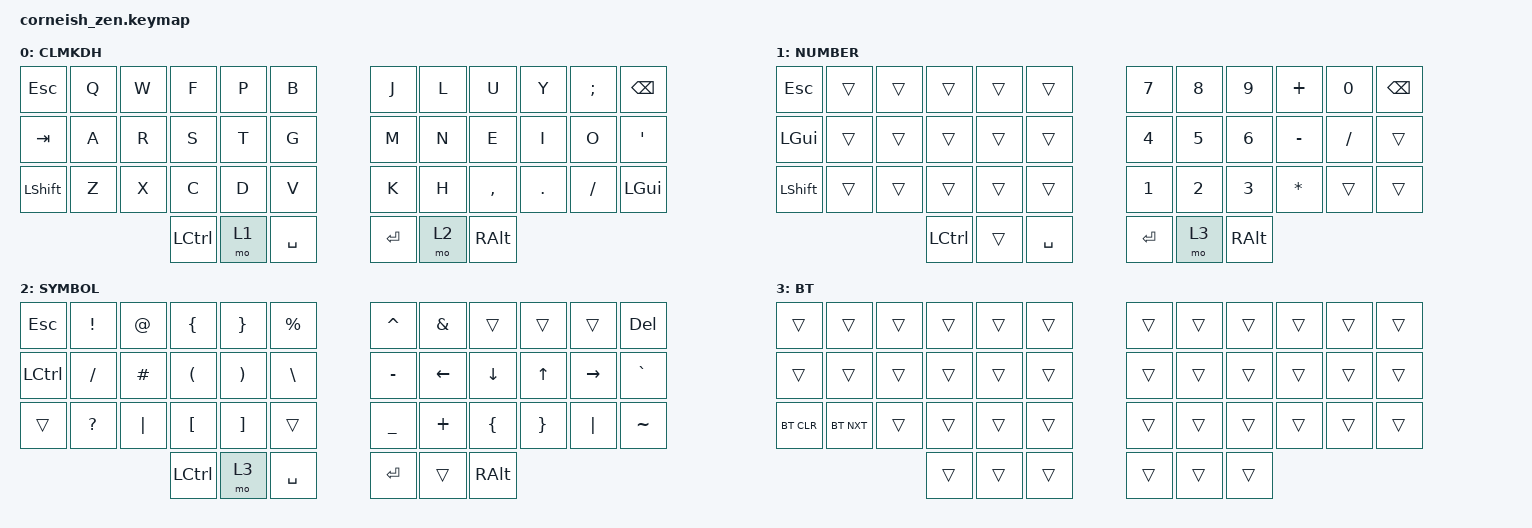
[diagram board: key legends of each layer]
/*
*
* Copyright (c) 2021 Darryl deHaan
* SPDX-License-Identifier: MIT
*
*/

#include <behaviors.dtsi>
#include <dt-bindings/zmk/keys.h>
#include <dt-bindings/zmk/bt.h>

/ {
  chosen {
    zmk,matrix_transform = &default_transform;
    //zmk,matrix_transform = &five_column_transform;
  };
};

/ {
        keymap {
                compatible = "zmk,keymap";

                default_layer {
                        label = "CLMKDH";
                        bindings = <
   &kp ESC   &kp Q &kp W &kp F &kp P &kp B   &kp J &kp L  &kp U     &kp Y   &kp SEMI  &kp BSPC
   &kp TAB   &kp A &kp R &kp S &kp T &kp G   &kp M &kp N  &kp E     &kp I   &kp O     &kp SQT
   &kp LSHFT &kp Z &kp X &kp C &kp D &kp V   &kp K &kp H  &kp COMMA &kp DOT &kp FSLH  &kp LGUI
                  &kp LCTRL &mo 1 &kp SPACE   &kp RET &mo 2 &kp RALT
                        >;
                };
                lower_layer {
                        label = "NUMBER";
                        bindings = <
   &kp ESC     &trans        &trans        &trans        &trans        &trans                 &kp N7   &kp N8   &kp N9  &kp PLUS  &kp N0    &kp BSPC
   &kp LGUI    &trans        &trans        &trans        &trans        &trans                 &kp N4   &kp N5   &kp N6  &kp MINUS &kp FSLH  &trans
   &kp LSHFT   &trans        &trans        &trans        &trans        &trans                 &kp N1   &kp N2   &kp N3  &kp STAR  &trans    &trans
                          	               &kp LCTRL     &trans        &kp SPACE              &kp RET  &mo 3    &kp RALT
                        >;
                };

                raise_layer {
                        label = "SYMBOL";
                        bindings = <
   &kp ESC     &kp EXCL      &kp AT    &kp LBRC    &kp RBRC   &kp PRCNT     &kp CARET &kp AMPS  &trans    &trans   &trans    &kp DEL
   &kp LCTRL   &kp FSLH      &kp HASH  &kp LPAR    &kp RPAR   &kp BSLH      &kp MINUS &kp LEFT  &kp DOWN  &kp UP   &kp RIGHT &kp GRAVE
   &trans      &kp QMARK     &kp PIPE  &kp LBKT    &kp RBKT   &trans        &kp UNDER &kp PLUS  &kp LBRC  &kp RBRC &kp PIPE  &kp TILDE
                    	                 &kp LCTRL   &mo 3      &kp SPACE     &kp RET   &trans    &kp RALT
                        >;
                };
                
                top_layer {
                        label = "BT";
                        bindings = <
   &trans      &trans      &trans &trans &trans &trans     &trans &trans &trans &trans &trans &trans
   &trans      &trans      &trans &trans &trans &trans     &trans &trans &trans &trans &trans &trans
   &bt BT_CLR  &bt BT_NXT  &trans &trans &trans &trans     &trans &trans &trans &trans &trans &trans
                    	            &trans &trans &trans     &trans &trans &trans
                        >;
                };
        };
};
/*
layout:
  ortho_layout:
    split: true
    rows: 3
    columns: 6
    thumbs: 3
*/
